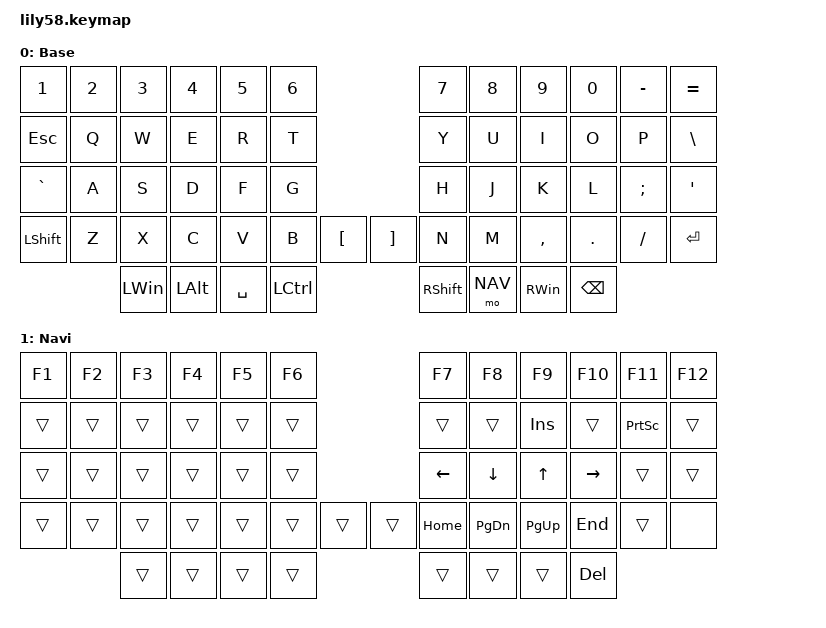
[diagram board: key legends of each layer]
/*
 * Copyright (c) 2020 The ZMK Contributors
 *
 * SPDX-License-Identifier: MIT
 */


#include <behaviors.dtsi>
#include <dt-bindings/zmk/keys.h>
#include <dt-bindings/zmk/bt.h>
#include <dt-bindings/zmk/outputs.h>

#define CMK 0
#define NAV 1

/*
&caps_word {
   continue-list = <UNDERSCORE MINUS BACKSPACE>;
};
*/

/ {

    combos {
        #include "combos.dtsi"
    };

    behaviors {
        skq: sticky_key_quick_release {
            compatible = "zmk,behavior-sticky-key";
            label = "STICKY_KEY_QUICK_RELEASE";
            #binding-cells = <1>;
            bindings = <&kp>;
            release-after-ms = <100>;
            quick-release;
        };
    };
};


/ {
    keymap {
        compatible = "zmk,keymap";

        default_layer {
            display-name = "Base";
// ------------------------------------------------------------------------------------------------------------------------------------------------
//  |    1    |    2    |    3    |    4    |    5    |    6    |                     |    7    |    8    |    9    |   10    |   -    |   =    |
//  |   ESC   |    Q    |    W    |    E    |    R    |    T    |                     |    Y    |    U    |    I    |    O    |    P    |    \    |
//  |    `    |    A    |    S    |    D    |    F    |    G    |                     |    H    |    J    |    K    |    L    |    ;    |    '    |
//  |   SHIFT |    Z    |    X    |    C    |    V    |    B    |    [    | |    ]    |    N    |    M    |    ,    |    .    |    /    | SHIFT   |
//                                |   WIN   |   ALT   |  SPACE  |  CTRL   | |  ENTER  |  -NAV-  |  RWIN   |   BSPS   |
            bindings = <
    &kp N1    &kp N2    &kp N3    &kp N4    &kp N5    &kp N6                          &kp N7    &kp N8    &kp N9    &kp N0   &kp MINUS   &kp EQUAL
    &kp ESC   &kp Q     &kp W     &kp E     &kp R     &kp T                           &kp Y     &kp U     &kp I     &kp O     &kp P     &kp BSLH
    &kp GRAVE &kp A     &kp S     &kp D     &kp F     &kp G                           &kp H     &kp J     &kp K     &kp L     &kp SEMI  &kp SQT
    &kp LSHFT &kp Z     &kp X     &kp C     &kp V     &kp B   &kp LBKT      &kp RBKT  &kp N     &kp M     &kp COMMA &kp DOT   &kp FSLH   &kp RET
                           &kp LWIN  &kp LALT     &kp SPACE &kp LCTRL            &kp RSHFT  &mo NAV   &kp RWIN   &kp BSPC
            >;
        };

        nav_layer {
            display-name = "Navi";
// ------------------------------------------------------------------------------------------------------------------------------------------------
//  |    F1   |   F2    |   F3    |    F4   |    F5   |    F6   |                    |   F7    |    F8   |    F9   |   F10   |   F11   |    F12   |
//  |         |         |         |         |         |         |                    |         |         |   INS   |         | PSCRN   |          |
//  |         |         |         |         |         |         |                    |   LEFT  |   DOWN  |    UP   |  RIGHT  |         |          |
//  |         |         |         |         |         |         |         ||         |   HOME  | PAGE_DN | PAGE_UP |   END   |         |          |
//                                |         |         |         |         ||         |  _NAV_  |         |         |   DEL
            bindings = <
    &kp F1    &kp F2    &kp F3    &kp F4    &kp F5    &kp F6                         &kp F7    &kp F8    &kp F9    &kp F10   &kp F11    &kp F12   
    &trans    &trans    &trans    &trans    &trans    &trans                         &trans    &trans    &kp INS   &trans    &kp PSCRN  &trans
    &trans    &trans    &trans    &trans    &trans    &trans                         &kp LEFT  &kp DOWN  &kp UP    &kp RIGHT &trans     &trans  
    &trans    &trans    &trans    &trans    &trans    &trans &trans           &trans &kp HOME  &kp PG_DN &kp PG_UP &kp END   &trans     &none
                           &trans    &trans    &trans      &trans                 &trans     &trans   &trans   &kp DEL
            >;
        };

    };
};
